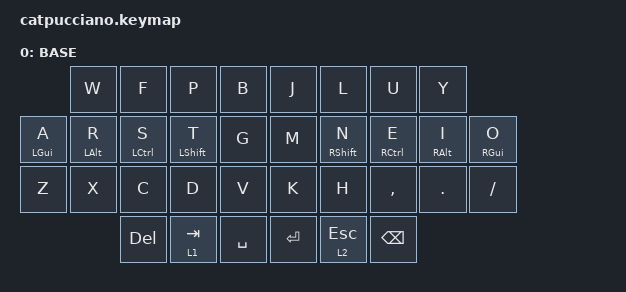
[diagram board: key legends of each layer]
#include <behaviors.dtsi>
#include <dt-bindings/zmk/bt.h>
#include <dt-bindings/zmk/keys.h>

#define BASE 0
#define NAV  1
#define SYM  2
#define ADJ  3
#define TVP1 4
#define TVP2 5

&mt {
    quick-tap-ms = <175>;
    flavor = "balanced";
    require-prior-idle-ms = <150>;
    hold-trigger-key-positions = <35 36 37 26 27 28 29 19 30 5 6 7 8 9 15 16 17 18 19 26 27 28 29 30 31 37>;
    hold-trigger-on-release;
};

/ {
    combos {
        compatible = "zmk,combos";

        Enter {
            bindings = <&kp ENTER>;
            key-positions = <16 17 18>;
        };
    };

    keymap {
        compatible = "zmk,keymap";

        // ▄▄▄▄▄▄▄▄▄▄▄▄▄▄▄▄▄▄▄▄▄▄▄▄▄▄▄▄▄▄▄▄▄▄▄▄▄▄▄▄▄▄▄▄▄▄▄▄▄▄▄▄▄▄▄▄▄▄▄▄▄▄▄▄▄▄▄▄▄▄▄▄▄▄▄▄▄▄▄▄▄▄▄▄▄▄▄▄▄▄▄▄▄▄▄▄▄▄▄▄▄▄▄▄▄▄▄▄▄▄▄▄▄▄▄▄▄▄▄▄▄▄▄▄▄▄▄▄▄▄▄▄▄▄▄▄▄▄▄▄▄▄▄▄▄▄▄▄▄

        base_layer {
            // ┏━━━━━━━━━━━━━━━━━━━━━━━━━━━━━━━━━━━━━━━┓

            label = "BASE";

            // ┗━━━━━━━━━━━━━━━━━━━━━━━━━━━━━━━━━━━━━━━┛
            //             ┏━━━━━━━━━━━┳━━━━━━━━━━━┳━━━━━━━━━━━┳━━━━━━━━━━━┳━━━━━━━━━━━┓   ┏━━━━━━━━━━━┳━━━━━━━━━━━┳━━━━━━━━━━━┳━━━━━━━━━━━┳━━━━━━━━━━━┓
            //             ┃     Q     ┃     W     ┃     F     ┃     P     ┃     G     ┃   ┃     J     ┃     L     ┃     U     ┃     Y     ┃     ;     ┃
            //             ┣━━━━━━━━━━━╋━━━━━━━━━━━╋━━━━━━━━━━━╋━━━━━━━━━━━╋━━━━━━━━━━━┫   ┣━━━━━━━━━━━╋━━━━━━━━━━━╋━━━━━━━━━━━╋━━━━━━━━━━━╋━━━━━━━━━━━┫
            //             ┃     A     ┃     R     ┃     S     ┃     T     ┃     D     ┃   ┃     H     ┃     N     ┃     E     ┃     I     ┃     O     ┃
            // ┏━━━━━━━━━━━╋━━━━━━━━━━━╋━━━━━━━━━━━╋━━━━━━━━━━━╋━━━━━━━━━━━╋━━━━━━━━━━━┫   ┣━━━━━━━━━━━╋━━━━━━━━━━━╋━━━━━━━━━━━╋━━━━━━━━━━━╋━━━━━━━━━━━╋━━━━━━━━━━━┓
            // ┃     Q     ┃     Z     ┃     X     ┃     C     ┃     V     ┃     B     ┃   ┃     K     ┃     M     ┃     ,     ┃     .     ┃     /     ┃     \     ┃
            // ┗━━━━━━━━━━━┻━━━━━━━━━━━┻━━━━━━━━━━━╋━━━━━━━━━━━╋━━━━━━━━━━━╋━━━━━━━━━━━┫   ┣━━━━━━━━━━━╋━━━━━━━━━━━╋━━━━━━━━━━━╋━━━━━━━━━━━┻━━━━━━━━━━━┻━━━━━━━━━━━┛
            //                                     ┃    DEL    ┃    TAB    ┃    SPC    ┃   ┃   ENTER   ┃           ┃   BSPC    ┃
            //                                     ┗━━━━━━━━━━━┻━━━━━━━━━━━┻━━━━━━━━━━━┛   ┗━━━━━━━━━━━┻━━━━━━━━━━━┻━━━━━━━━━━━┛

            bindings = <
                              &kp W       &kp F        &kp P        &kp B        &kp J    &kp L        &kp U        &kp Y       
                  &mt LGUI A  &mt LALT R  &mt LCTRL S  &mt LSHFT T  &kp G        &kp M    &mt RSHFT N  &mt RCTRL E  &mt RALT I  &mt RGUI O
                  &kp Z       &kp X       &kp C        &kp D        &kp V        &kp K    &kp H        &kp COMMA    &kp DOT     &kp FSLH    
                                          &kp DEL      &lt 1 TAB    &kp SPACE    &kp RET  &lt 2 ESC    &kp BSPC
            >;
        };
    };
};
